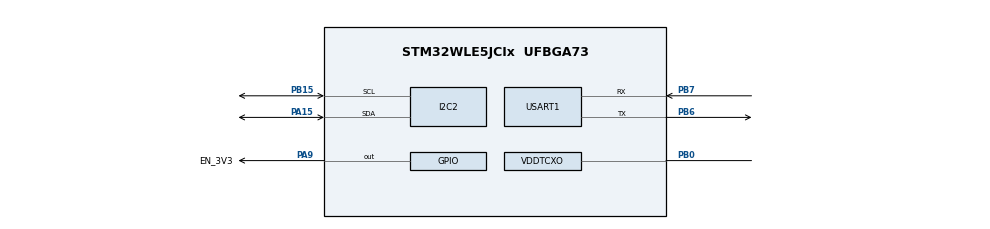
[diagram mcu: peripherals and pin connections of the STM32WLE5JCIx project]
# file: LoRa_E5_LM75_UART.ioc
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Mcu.Family=STM32WL
PC15-OSC32_OUT.Mode=LSE-External-Oscillator
PA9.GPIO_Label=EN_3V3
PC14-OSC32_IN.Signal=RCC_OSC32_IN
PB15.Signal=I2C2_SCL
ProjectManager.StackSize=0x400
USART1.VirtualMode-Asynchronous=VM_ASYNC
ProjectManager.TargetToolchain=STM32CubeIDE
PB0-VDD_TCXO.Mode=HSE-TCXO
PA9.Signal=GPIO_Output
PB6.Signal=USART1_TX
PB6.Mode=Asynchronous
OSC_IN.Signal=RCC_OSC_IN
RCC.LSE_VALUE=32768
PC15-OSC32_OUT.Signal=RCC_OSC32_OUT
RCC.HSE_VALUE=8000000
board=custom
RCC.VCOOutputFreq_Value=32000000
PA15.Mode=I2C
PB15.Mode=I2C
PC14-OSC32_IN.Mode=LSE-External-Oscillator
PB7.Signal=USART1_RX
PB0-VDD_TCXO.Signal=VDDTCXO
Mcu.Name=STM32WLE5JCIx
Mcu.Package=UFBGA73
USART1.AutoBaudRateEnableParam=UART_ADVFEATURE_AUTOBAUDRATE_ENABLE
OSC_IN.Mode=HSE-TCXO
PB7.Mode=Asynchronous
PA15.Signal=I2C2_SDA
ProjectManager.HeapSize=0x200
RCC.HSI_VALUE=16000000
NVIC.PriorityGroup=NVIC_PRIORITYGROUP_4

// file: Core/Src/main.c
/* USER CODE BEGIN Header */
/**
  ******************************************************************************
  * @file           : main.c
  * @brief          : Main program body
  ******************************************************************************
  * @attention
  *
  * <h2><center>&copy; Copyright (c) 2021 STMicroelectronics.
  * All rights reserved.</center></h2>
  *
  * This software component is licensed by ST under BSD 3-Clause license,
  * the "License"; You may not use this file except in compliance with the
  * License. You may obtain a copy of the License at:
  *                        opensource.org/licenses/BSD-3-Clause
  *
  ******************************************************************************
  */
/* USER CODE END Header */
#include "main.h"
#include "i2c.h"
#include "usart.h"
#include "gpio.h"

/* USER CODE BEGIN Includes */
#include <stdio.h>
#include "lm75_lib.h"

/* USER CODE END Includes */

/* USER CODE BEGIN PTD */

/*LM75 Address  fix: '1001' + A2 A1 A0 + 'Write/ Read'*/
#define A2  0
#define A1  0
#define A0  0
#define LM75_ADDRESS (0x48 | (A2 << 3) | (A1 << 2) | (A0 << 1))

/* USER CODE END PTD */

/* USER CODE BEGIN PV */
float temp;
uint8_t conf_data;

/* USER CODE END PV */

void SystemClock_Config(void);

int main(void)
{

  /* MCU Configuration--------------------------------------------------------*/

  /* Reset of all peripherals, Initializes the Flash interface and the Systick. */
  HAL_Init();

  /* Configure the system clock */
  SystemClock_Config();

  /* Initialize all configured peripherals */
  MX_GPIO_Init();
  MX_I2C2_Init();
  MX_USART1_UART_Init();
  /* USER CODE BEGIN 2 */

  //Enable 3V3 For Sensor
  HAL_GPIO_WritePin(EN_3V3_GPIO_Port, EN_3V3_Pin, GPIO_PIN_SET);
  HAL_Delay(500);

  //LM75 Set Config
  uint8_t setConfig = (OS_F_QUE_queue_0 | OS_POL_active_HIGH | OS_COMP_INT_comparator | SHUTDOWN_normal);
  LM75_setConfiguration(&hi2c2, LM75_ADDRESS, setConfig);
  HAL_Delay(500);

  //LM75 Get Config
  conf_data = LM75_getConfiguration(&hi2c2, LM75_ADDRESS);
  HAL_Delay(500);
  printf("LM75 Config: 0x%x \r\n",conf_data);

  // Setting Over temperature Threshold
  temp = LM75_getTemperature(&hi2c2, LM75_ADDRESS) + 1;
  LM75_setOSThreshold(&hi2c2, LM75_ADDRESS, (int16_t)temp); // OverTemp = Ambiant + 1 'C
  HAL_Delay(500);
  temp = LM75_getOSThreshold(&hi2c2, LM75_ADDRESS);
  HAL_Delay(500);

  printf("Setting OT Threshold: %.2f \r\n",temp);
  /* USER CODE END 2 */

  /* Infinite loop */
  /* USER CODE BEGIN WHILE */
  while (1)
  {

	  temp = LM75_getTemperature(&hi2c2, LM75_ADDRESS);
	  printf ("Temperature = %.2f'C\r\n", temp);
	  HAL_Delay(500);

//	  if(LM75_isShutdown(&hi2c2, LM75_ADDRESS)){
//		  LM75_Wakeup(&hi2c2, LM75_ADDRESS);
//	  }
//	  else {
//		  LM75_Shutdown(&hi2c2, LM75_ADDRESS);
//	  }
//	  HAL_Delay(500);

	  /* USER CODE END WHILE */

  }
}

void SystemClock_Config(void)
{
  RCC_OscInitTypeDef RCC_OscInitStruct = {0};
  RCC_ClkInitTypeDef RCC_ClkInitStruct = {0};

  /** Configure LSE Drive Capability
  */
  HAL_PWR_EnableBkUpAccess();
  __HAL_RCC_LSEDRIVE_CONFIG(RCC_LSEDRIVE_LOW);
  /** Configure the main internal regulator output voltage
  */
  __HAL_PWR_VOLTAGESCALING_CONFIG(PWR_REGULATOR_VOLTAGE_SCALE2);
  /** Initializes the CPU, AHB and APB busses clocks
  */
  RCC_OscInitStruct.OscillatorType = RCC_OSCILLATORTYPE_LSE|RCC_OSCILLATORTYPE_MSI;
  RCC_OscInitStruct.LSEState = RCC_LSE_ON;
  RCC_OscInitStruct.MSIState = RCC_MSI_ON;
  RCC_OscInitStruct.MSICalibrationValue = RCC_MSICALIBRATION_DEFAULT;
  RCC_OscInitStruct.MSIClockRange = RCC_MSIRANGE_6;
  RCC_OscInitStruct.PLL.PLLState = RCC_PLL_NONE;
  if (HAL_RCC_OscConfig(&RCC_OscInitStruct) != HAL_OK)
  {
    Error_Handler();
  }
  /** Configure the SYSCLKSource, HCLK, PCLK1 and PCLK2 clocks dividers
  */
  RCC_ClkInitStruct.ClockType = RCC_CLOCKTYPE_HCLK3|RCC_CLOCKTYPE_HCLK
                              |RCC_CLOCKTYPE_SYSCLK|RCC_CLOCKTYPE_PCLK1
                              |RCC_CLOCKTYPE_PCLK2;
  RCC_ClkInitStruct.SYSCLKSource = RCC_SYSCLKSOURCE_MSI;
  RCC_ClkInitStruct.AHBCLKDivider = RCC_SYSCLK_DIV1;
  RCC_ClkInitStruct.APB1CLKDivider = RCC_HCLK_DIV1;
  RCC_ClkInitStruct.APB2CLKDivider = RCC_HCLK_DIV1;
  RCC_ClkInitStruct.AHBCLK3Divider = RCC_SYSCLK_DIV1;

  if (HAL_RCC_ClockConfig(&RCC_ClkInitStruct, FLASH_LATENCY_0) != HAL_OK)
  {
    Error_Handler();
  }
}

/* USER CODE BEGIN 4 */

int __io_putchar(int ch)
{
 uint8_t c[1];
 c[0] = ch & 0x00FF;
 HAL_UART_Transmit(&huart1, &*c, 1, 10);
 return ch;
}

int _write(int file,char *ptr, int len)
{
 int DataIdx;
 for(DataIdx= 0; DataIdx< len; DataIdx++)
 {
 __io_putchar(*ptr++);
 }
return len;
}

/* USER CODE END 4 */

void Error_Handler(void)
{
  __disable_irq();
  while (1)
  {
  }
}

/************************ (C) COPYRIGHT STMicroelectronics *****END OF FILE****/
